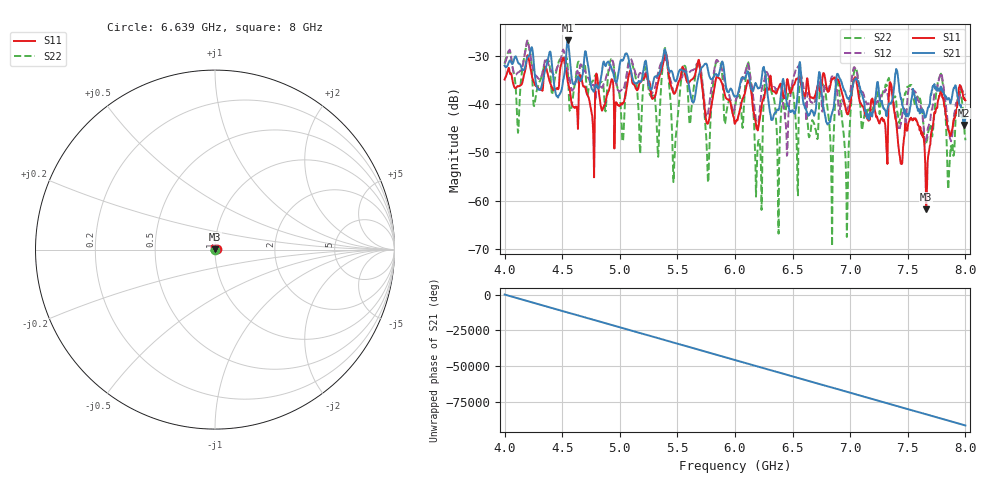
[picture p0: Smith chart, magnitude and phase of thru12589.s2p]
# Hz  S  RI  R  50.0
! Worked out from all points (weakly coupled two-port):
!   1000 points, 4 GHz to 8 GHz, reference 50 ohm
!   highest |S21| = -26.89 dB at 4.549 GHz (marker M1); lowest = -44.4 dB at 7.988 GHz (marker M2)
!   lowest |S11| = -61.8 dB at 7.66 GHz (marker M3), VSWR 1.00, Z = 50 + j0.0811 ohm
!   |S11| at or under -10 dB: start of sweep to end of sweep
!   |S22| runs from -69.3 to -27.2 dB; largest |S21 - S12| = 0.036
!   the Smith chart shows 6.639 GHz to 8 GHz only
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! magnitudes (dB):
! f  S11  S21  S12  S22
! 4 GHz  -35.0  -32.1  -31.6  -31.7
! 4.549 GHz  -35.5  -26.9  -33.5  -32.8
! 4.669 GHz  -34.9  -34.8  -32.1  -32.2
! 5.337 GHz  -35.0  -33.9  -33.1  -48.5
! 5.393 GHz  -29.7  -28.7  -30.9  -28.4
! 5.473 GHz  -37.9  -35.0  -37.7  -51.9
! 5.558 GHz  -33.2  -33.3  -32.9  -32.2
! 5.694 GHz  -32.3  -33.4  -32.2  -31.8
! 5.762 GHz  -44.1  -32.6  -42.3  -54.1
! 5.846 GHz  -34.4  -34.2  -30.9  -31.3
! 6.002 GHz  -44.0  -38.4  -39.8  -40.3
! 6.667 GHz  -38.7  -41.3  -39.7  -43.7
! 6.763 GHz  -34.0  -39.9  -40.9  -36.0
! 6.843 GHz  -34.8  -41.9  -34.3  -69.3
! 6.895 GHz  -35.0  -34.0  -39.5  -35.7
! 6.971 GHz  -42.0  -38.6  -41.3  -67.4
! 7.043 GHz  -34.5  -34.9  -32.7  -32.8
! 7.335 GHz  -38.4  -40.0  -38.7  -34.6
! 7.66 GHz  -61.8  -42.3  -47.4  -48.2
! 7.78 GHz  -37.8  -36.9  -34.1  -34.2
! 7.988 GHz  -38.8  -44.4  -37.7  -43.4
! 8 GHz  -39.3  -42.9  -38.1  -47.5
